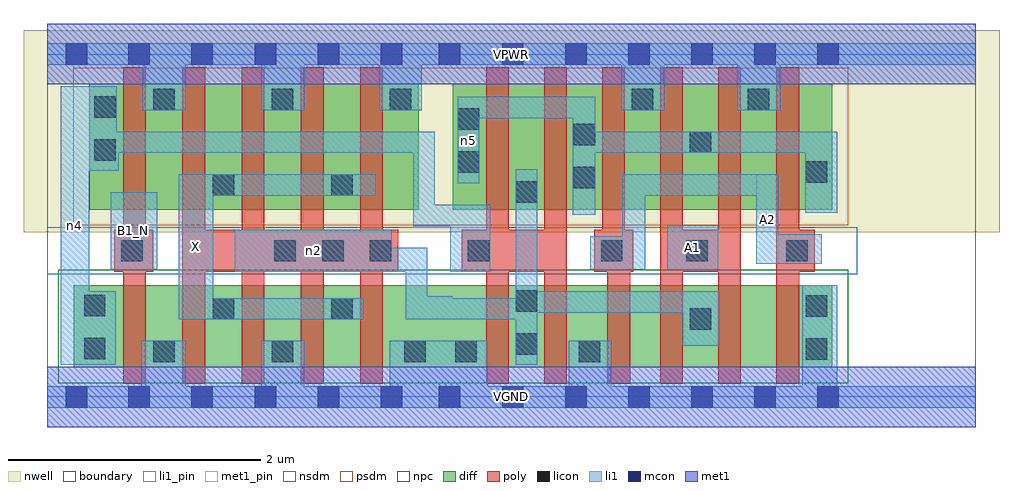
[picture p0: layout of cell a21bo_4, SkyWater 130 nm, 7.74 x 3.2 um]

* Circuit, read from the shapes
.subckt a21bo_4 A1 A2 B1_N VGND VPWR X n2 n4 n5
XM1 VGND B1_N n4 VSUBS sky130_fd_pr__nfet_01v8 w=0.65 l=0.18
XM2 X n2 VGND VSUBS sky130_fd_pr__nfet_01v8 w=0.65 l=0.18 m=4
XM3 n2 n4 VGND VSUBS sky130_fd_pr__nfet_01v8 w=0.65 l=0.18 m=2
XM4 n1 A2 VGND VSUBS sky130_fd_pr__nfet_01v8 w=0.65 l=0.18
XM5 n2 A1 n1 VSUBS sky130_fd_pr__nfet_01v8 w=0.65 l=0.18
XM6 n3 A1 n2 VSUBS sky130_fd_pr__nfet_01v8 w=0.65 l=0.18
XM7 VGND A2 n3 VSUBS sky130_fd_pr__nfet_01v8 w=0.65 l=0.18
XM8 VPWR B1_N n4 n6 sky130_fd_pr__pfet_01v8 w=1 l=0.18
XM9 X n2 VPWR n6 sky130_fd_pr__pfet_01v8 w=1 l=0.18 m=4
XM10 n2 n4 n5 n6 sky130_fd_pr__pfet_01v8 w=1 l=0.18 m=2
XM11 VPWR A2 n5 n6 sky130_fd_pr__pfet_01v8 w=1 l=0.18 m=2
XM12 n5 A1 VPWR n6 sky130_fd_pr__pfet_01v8 w=1 l=0.18 m=2
.ends

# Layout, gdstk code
import gdstk
lib = gdstk.Library(unit=1e-6, precision=1e-09)
def R(c, l, rs):  # rectangles x0, y0, x1, y1
    for r in rs: c.add(gdstk.rectangle(r[:2], r[2:], *l))
def A(c, l, x, y, w, h, nx, ny, dx, dy):  # array of equal rectangles
    R(c, l, [(x+i*dx, y+j*dy, x+i*dx+w, y+j*dy+h) for i in range(nx) for j in range(ny)])
nwell = (64, 20)
diff = (65, 20)
poly = (66, 20)
licon = (66, 44)
li1_pin = (67, 16)
li1 = (67, 20)
mcon = (67, 44)
met1_pin = (68, 16)
met1 = (68, 20)
nsdm = (93, 44)
psdm = (94, 20)
npc = (95, 20)
boundary = (235, 4)

a21bo_4 = lib.new_cell('a21bo_4')
R(a21bo_4, nwell, [(-0.19,1.305,7.55,2.91), (0,1.305,7.36,2.91)])
R(a21bo_4, diff, [(0.21,0.235,6.225,0.885), (0.33,1.485,2.945,2.485), (3.215,1.485,6.225,2.485)])
A(a21bo_4, poly, 0.6, 0.105, 0.18, 2.51, 5, 1, 0.47, 0)
A(a21bo_4, poly, 4.86, 0.105, 0.18, 2.51, 3, 1, 0.46, 0)
R(a21bo_4, poly, [(3.48,0.105,3.66,2.615), (3.94,0.105,4.12,2.615), (4.44,0.105,4.62,1.325), (0.53,0.995,0.84,1.325), (1.07,0.995,2.78,1.325), (3.285,0.995,4.12,1.325), (4.335,0.995,4.645,1.325), (4.4,0.995,4.58,2.615), (4.86,0.995,5.5,1.325), (5.78,0.995,6.085,1.325)])
R(a21bo_4, licon, [(0.84,0.275,1.01,0.445), (1.78,0.275,1.95,0.445), (2.83,0.275,3,0.445), (3.235,0.275,3.405,0.445), (4.215,0.275,4.385,0.445), (6.015,0.295,6.185,0.465), (0.29,0.3,0.46,0.47), (3.715,0.335,3.885,0.505), (5.095,0.535,5.265,0.705), (1.31,0.615,1.48,0.785), (2.25,0.615,2.42,0.785), (6.015,0.635,6.185,0.805), (0.29,0.64,0.46,0.81), (3.715,0.675,3.885,0.845), (0.585,1.075,0.755,1.245), (1.8,1.075,1.97,1.245), (2.18,1.075,2.35,1.245), (2.555,1.075,2.725,1.245), (3.335,1.075,3.505,1.245), (4.39,1.075,4.56,1.245), (5.065,1.075,5.235,1.245), (5.86,1.075,6.03,1.245), (3.715,1.54,3.885,1.71), (1.31,1.595,1.48,1.765), (2.25,1.595,2.42,1.765), (4.175,1.655,4.345,1.825), (6.015,1.7,6.185,1.87), (3.255,1.78,3.425,1.95), (0.37,1.875,0.54,2.045), (5.095,1.935,5.265,2.105), (4.175,1.995,4.345,2.165), (3.255,2.12,3.425,2.29), (0.37,2.215,0.54,2.385), (0.84,2.275,1.01,2.445), (1.78,2.275,1.95,2.445), (2.715,2.275,2.885,2.445), (4.635,2.275,4.805,2.445), (5.555,2.275,5.725,2.445)])
R(a21bo_4, li1_pin, [(1.04,0.615,1.315,1.765), (0.5,1.01,0.87,1.625), (4.915,1.01,5.32,1.36), (5.62,1.055,5.795,1.765)])
R(a21bo_4, li1, [(0,-0.085,7.36,0.085), (0.745,-0.085,1.095,0.445), (1.695,-0.085,2.035,0.445), (2.715,-0.085,3.49,0.445), (4.135,-0.085,4.47,0.445), (5.985,-0.085,6.265,0.885), (0.105,0.255,0.33,2.465), (0.105,0.255,0.54,0.84), (3.715,0.255,3.885,1.805), (5.04,0.405,5.33,0.84), (1.04,0.615,1.315,1.765), (1.04,0.615,2.505,0.785), (2.84,0.615,3.885,0.785), (2.84,0.615,3.01,1.185), (2.84,0.615,3.21,0.8), (3.715,0.67,5.33,0.84), (1.485,0.995,2.73,1.325), (1.485,0.995,3.01,1.185), (3.195,0.995,3.51,1.525), (0.5,1.01,0.87,1.625), (4.305,1.01,4.74,1.275), (4.56,1.01,4.74,1.765), (4.915,1.01,5.32,1.36), (5.62,1.055,6.14,1.29), (5.62,1.055,5.795,1.765), (2.9,1.355,3.07,2.105), (2.9,1.355,3.51,1.525), (4.165,1.445,4.345,2.38), (6.01,1.46,6.265,2.105), (1.04,1.595,2.605,1.765), (4.56,1.595,5.795,1.765), (3.255,1.695,3.425,2.38), (0.105,1.795,0.55,2.465), (0.105,1.795,0.565,2.105), (0.105,1.935,3.07,2.105), (4.165,1.935,6.265,2.105), (3.255,2.21,4.345,2.38), (0.755,2.275,1.095,2.805), (1.695,2.275,2.035,2.805), (2.63,2.275,2.97,2.805), (4.55,2.275,4.89,2.805), (5.47,2.275,5.81,2.805), (0,2.635,7.36,2.805)])
A(a21bo_4, mcon, 1.645, -0.085, 0.17, 0.17, 3, 2, 0.5, 2.72)
A(a21bo_4, mcon, 3.105, -0.085, 0.17, 0.17, 7, 2, 0.5, 2.72)
R(a21bo_4, mcon, [(0.145,-0.085,0.315,0.085), (0.64,-0.085,0.81,0.085), (1.14,-0.085,1.31,0.085), (0.145,2.635,0.315,2.805), (0.64,2.635,0.81,2.805), (1.14,2.635,1.31,2.805)])
R(a21bo_4, met1_pin, [(0,-0.24,7.36,0.24), (0,2.48,7.36,2.96)])
R(a21bo_4, met1, [(0,-0.24,7.36,0.24), (0,2.48,7.36,2.96)])
R(a21bo_4, nsdm, [(0.085,0.11,6.35,1.01)])
R(a21bo_4, psdm, [(0.205,1.36,6.35,2.61)])
R(a21bo_4, npc, [(0,0.975,6.42,1.345)])
R(a21bo_4, boundary, [(0,0,7.36,2.72)])
a21bo_4.add(gdstk.Label('A1', (5.117,1.185), layer=67, texttype=5))
a21bo_4.add(gdstk.Label('A2', (5.707,1.41), layer=67, texttype=5))
a21bo_4.add(gdstk.Label('B1_N', (0.685,1.317), layer=67, texttype=5))
a21bo_4.add(gdstk.Label('X', (1.177,1.19), layer=67, texttype=5))
a21bo_4.add(gdstk.Label('n2', (2.107,1.16), layer=67, texttype=5))
a21bo_4.add(gdstk.Label('n5', (3.34,2.037), layer=67, texttype=5))
a21bo_4.add(gdstk.Label('n4', (0.217,1.36), layer=67, texttype=5))
a21bo_4.add(gdstk.Label('VPWR', (3.68,2.72), layer=68, texttype=5))
a21bo_4.add(gdstk.Label('VGND', (3.68,0), layer=68, texttype=5))
a21bo_4.add(gdstk.Label('A1', (5.117,1.185), layer=67, texttype=16))
a21bo_4.add(gdstk.Label('A2', (5.707,1.41), layer=67, texttype=16))
a21bo_4.add(gdstk.Label('B1_N', (0.685,1.317), layer=67, texttype=16))
a21bo_4.add(gdstk.Label('X', (1.177,1.19), layer=67, texttype=16))
a21bo_4.add(gdstk.Label('VPWR', (3.68,2.72), layer=68, texttype=16))
a21bo_4.add(gdstk.Label('VGND', (3.68,0), layer=68, texttype=16))

lib.write_gds('a21bo_4.gds')
